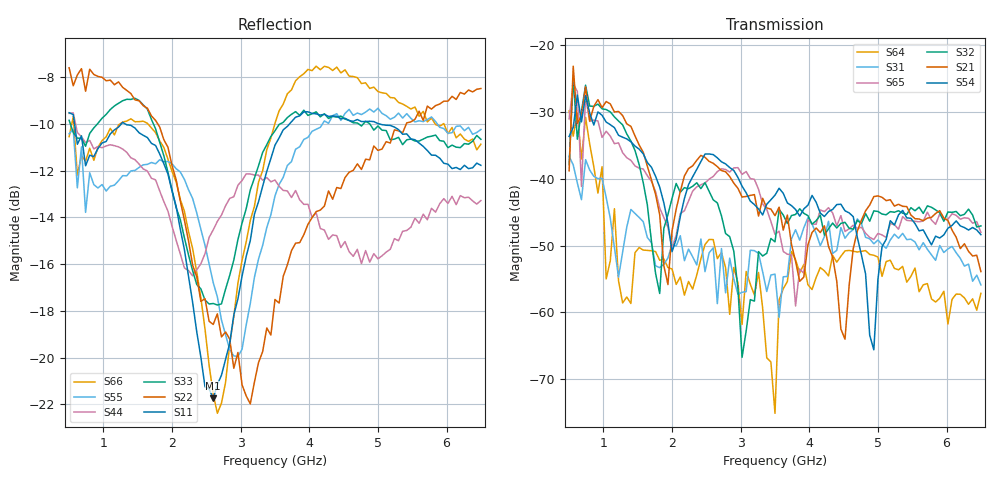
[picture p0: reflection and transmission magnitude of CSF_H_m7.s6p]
!Keysight Technologies,M9804A,MY58100912,A.14.10.03
!Date: Thursday, April 27, 2023 10:28:33
!Correction: S11(C  6-Port  )
!S12(C  6-Port  )
!S13(C  6-Port  )
!S14(C  6-Port  )
!S15(C  6-Port  )
!S16(C  6-Port  )
!S21(C  6-Port  )
!S22(C  6-Port  )
!S23(C  6-Port  )
!S24(C  6-Port  )
!S25(C  6-Port  )
!S26(C  6-Port  )
!S31(C  6-Port  )
!S32(C  6-Port  )
!S33(C  6-Port  )
!S34(C  6-Port  )
!S35(C  6-Port  )
!S36(C  6-Port  )
!S41(C  6-Port  )
!S42(C  6-Port  )
!S43(C  6-Port  )
!S44(C  6-Port  )
!S45(C  6-Port  )
!S46(C  6-Port  )
!S51(C  6-Port  )
!S52(C  6-Port  )
!S53(C  6-Port  )
!S54(C  6-Port  )
!S55(C  6-Port  )
!S56(C  6-Port  )
!S61(C  6-Port  )
!S62(C  6-Port  )
!S63(C  6-Port  )
!S64(C  6-Port  )
!S65(C  6-Port  )
!S66(C  6-Port  )
!S6P File: Measurement: :
# Hz S  RI  R 50
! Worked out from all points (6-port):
!   101 points, 500 MHz to 6.5 GHz, reference 50 ohm
!   strongest paths, dB at 500 MHz, 2 GHz, 3.5 GHz, 5 GHz, 6.5 GHz:
!     S54: -33.7, -50.9, -42.5, -55.0, -48.4
!     S21: -38.8, -47.8, -45.5, -42.6, -53.9
!     S32: -37.9, -42.9, -49.4, -44.9, -47.1
!     S65: -31.0, -50.4, -48.3, -48.2, -48.0
!     S31: -36.6, -49.8, -54.3, -49.2, -55.9
!     S64: -29.9, -53.5, -75.1, -51.7, -57.1
!   lowest |S11| = -21.7 dB at 2.6 GHz (marker M1), VSWR 1.18, Z = 42.7 + j1.97 ohm
!   |S11| at or under -10 dB: 578.8 MHz to 1.262 GHz (683.3 MHz wide, 74.2 % of centre); 1.315 GHz to 3.713 GHz (2.398 GHz wide, 95.4 % of centre); 5.015 GHz to end of sweep
